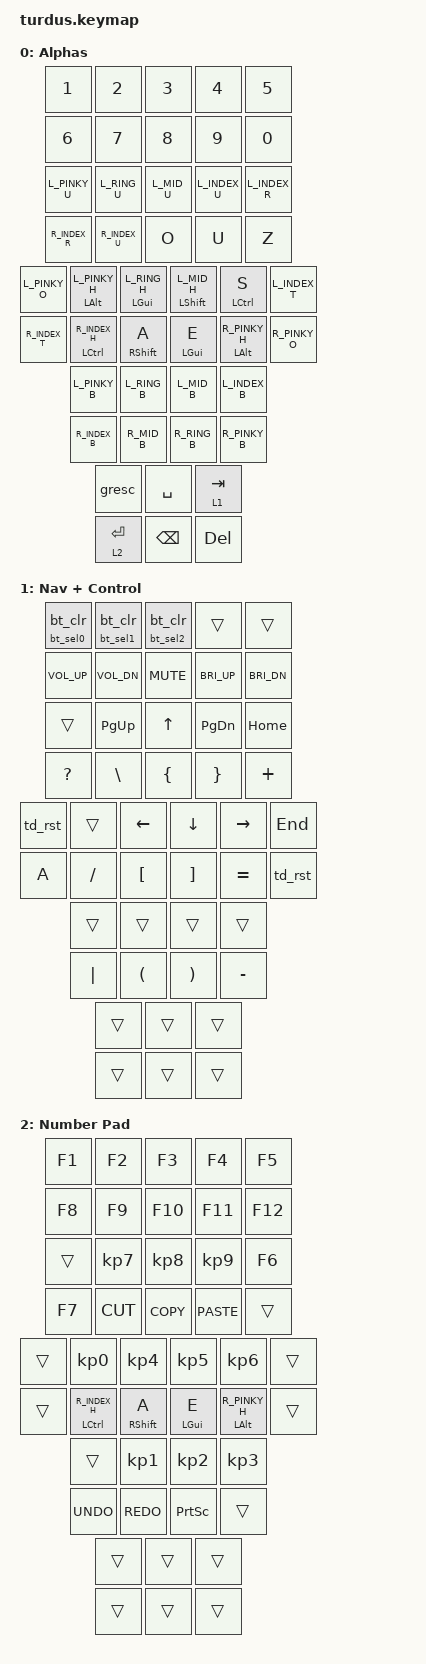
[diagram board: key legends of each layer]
#include <behaviors.dtsi>
#include <dt-bindings/zmk/keys.h>
#include <dt-bindings/zmk/bt.h>
#include "alphas/gallium.h"

#define KEYS_L 0 1 2 3 4 10 11 12 13 14 20 21 22 23 24 25 32 33 34 35 
#define KEYS_R 5 6 7 8 9 15 16 17 18 19 26 27 28 29 30 31 36 37 38 39
#define THUMBS 40 41 42 43 44 45                                    // thumb keys

#define OS_UNICODE_LEAD &macro_tap &kp LS(LC(U))   // Linux
#define OS_UNICODE_TRAIL &macro_tap &kp SPACE     // Linux

#define UC_MACRO(name, unicode_bindings) \
    / { \
        macros { \
            name: name { \
                compatible = "zmk,behavior-macro"; \
                wait-ms = <0>; \
                tap-ms = <0>; \
                #binding-cells = <0>; \
                bindings = <OS_UNICODE_LEAD>, <&macro_tap unicode_bindings>, <OS_UNICODE_TRAIL>; \
            }; \
        }; \
    };

#define UC_MODMORPH(name, uc_binding, shifted_uc_binding) \
    / { \
        behaviors { \
            name: name { \
                compatible = "zmk,behavior-mod-morph"; \
                #binding-cells = <0>; \
                bindings = <uc_binding>, <shifted_uc_binding>; \
                mods = <(MOD_LSFT|MOD_RSFT)>; \
            }; \
        }; \
    };

#define ZMK_UNICODE_PAIR(name, L0, L1, L2, L3, U0, U1, U2, U3) \
    UC_MACRO(name ## _l, &kp L0 &kp L1 &kp L2 &kp L3) \
    UC_MACRO(name ## _u, &kp U0 &kp U1 &kp U2 &kp U3) \
    UC_MODMORPH(name, &name ## _l, &name ## _u)


ZMK_UNICODE_PAIR(   de_ae,      N0, N0,  E, N4,    N0, N0,  C, N4) // ä/Ä
ZMK_UNICODE_PAIR(   de_oe,      N0, N0,  F, N6,    N0, N0,  D, N6) // ö/Ö
ZMK_UNICODE_PAIR(   de_ue,      N0, N0,  F,  C,    N0, N0,  D,  C) // ü/Ü
ZMK_UNICODE_PAIR(de_eszett,     N0, N0,  D,  F,    N1, E,   N9, E) // ß/ẞ

#define R_RING_U U
#define R_RING_H E

#define R_MID_U O
#define R_MID_H A

#define L_INDEX_H S
#define R_PINKY_U Z


/ {
    behaviors {

        td_rst: reset_tap_dance {
            compatible = "zmk,behavior-tap-dance";
            #binding-cells = <0>;
            tapping-term-ms = <200>;
            bindings = <&studio_unlock>, <&sys_reset>, <&bootloader>;
        };

        hml: hold_tap_left {
            compatible = "zmk,behavior-hold-tap";
            #binding-cells = <2>;
            flavor = "balanced";
            tapping-term-ms = <280>;
            quick-tap-ms = <175>;                // repeat on tap-into-hold
            require-prior-idle-ms = <150>;
            bindings = <&kp>, <&kp>;
            hold-trigger-key-positions = <KEYS_R THUMBS>;
            hold-trigger-on-release;             // delay positional check until key-release
        };

        hmr: hold_tap_right {
            compatible = "zmk,behavior-hold-tap";
            #binding-cells = <2>;
            flavor = "balanced";
            tapping-term-ms = <280>;
            quick-tap-ms = <175>;                // repeat on tap-into-hold
            require-prior-idle-ms = <150>;
            bindings = <&kp>, <&kp>;
            hold-trigger-key-positions = <KEYS_L THUMBS>;
            hold-trigger-on-release;             // delay positional check until key-release
        };

        bt_ht0: bluetooth_hold_tap0 {
            compatible = "zmk,behavior-hold-tap";
            #binding-cells = <2>;
            flavor = "tap-preferred";
            tapping-term-ms = <1000>;
            bindings = <&bt_sel0>, <&bt_clr>;
        };
        bt_ht1: bluetooth_hold_tap1 {
            compatible = "zmk,behavior-hold-tap";
            #binding-cells = <2>;
            flavor = "tap-preferred";
            tapping-term-ms = <1000>;
            bindings = <&bt_sel1>, <&bt_clr>;
        };
        bt_ht2: bluetooth_hold_tap2 {
            compatible = "zmk,behavior-hold-tap";
            #binding-cells = <2>;
            flavor = "tap-preferred";
            tapping-term-ms = <1000>;
            bindings = <&bt_sel2>, <&bt_clr>;
        };
    };

    macros {
        bt_clr: bluetooth_clear {
            compatible = "zmk,behavior-macro";
            #binding-cells = <0>;
            bindings=<&macro_tap &bt BT_CLR>;
        };
        bt_sel0: bluetooth_select0 {
            compatible = "zmk,behavior-macro";
            #binding-cells = <0>;
            bindings=<&macro_tap &bt BT_SEL 0>;
        };
        bt_sel1: bluetooth_select1 {
            compatible = "zmk,behavior-macro";
            #binding-cells = <0>;
            bindings=<&macro_tap &bt BT_SEL 1>;
        };
        bt_sel2: bluetooth_select2 {
            compatible = "zmk,behavior-macro";
            #binding-cells = <0>;
            bindings=<&macro_tap &bt BT_SEL 2>;
        };
    };

    combos {
        compatible = "zmk,combos";
        combo_soft_off {
            timeout-ms = <50>;
            key-positions = <4 5>;
            bindings = <&soft_off>;
        };
        combo_sleep {
            timeout-ms = <50>;
            key-positions = <8 9>;
            bindings = <&kp C_SLEEP>;
        };
        combo_oe {
            timeout-ms = <50>;
            key-positions = <17 29>;
            bindings = <&de_oe>;
            layers = <0>;
        };
        combo_ae {
            timeout-ms = <50>;
            key-positions = <28 29>;
            bindings = <&de_ae>;
            layers = <0>;
        };
        combo_ue {
            timeout-ms = <50>;
            key-positions = <18 29>;
            bindings = <&de_ue>;
            layers = <0>;
        };
        combo_sz {
            timeout-ms = <50>;
            key-positions = <10 24>;
            bindings = <&de_eszett>;
            layers = <0>;
        };
    };

    /*
    Stuff:
    Gaming layers
    */
    
    keymap {
        compatible = "zmk,keymap";

        default_layer { // Layer 0
            display-name = "Alphas";
            bindings = <
                // Left num row
                &kp N1 &kp N2 &kp N3 &kp N4 &kp N5 
                // Right num row
                &kp N6 &kp N7 &kp N8 &kp N9 &kp N0
                // Left upper row
                &kp L_PINKY_U &kp L_RING_U &kp L_MID_U &kp L_INDEX_U &kp L_INDEX_R  
                // Right upper row
                &kp R_INDEX_R &kp R_INDEX_U &kp R_MID_U &kp R_RING_U &kp R_PINKY_U 
                // Left home row
                &kp L_PINKY_O &hml LALT L_PINKY_H   &hml LGUI L_RING_H   &hml LSHFT L_MID_H  &hml LCTRL L_INDEX_H  &kp L_INDEX_T 
                // Right home row
                &kp R_INDEX_T  &hmr LCTRL R_INDEX_H  &hmr RSHFT R_MID_H  &hmr LGUI R_RING_H   &hmr LALT R_PINKY_H &kp R_PINKY_O 
                // Left lower row
                &kp L_PINKY_B &kp L_RING_B &kp L_MID_B &kp L_INDEX_B
                // Right lower row
                &kp R_INDEX_B &kp R_MID_B &kp R_RING_B &kp R_PINKY_B 
                // Left thumbs
                &gresc &kp SPACE &lt 1 TAB
                // Right thumbs
                &lt 2 ENTER &kp BSPC &kp DEL
            >;
        };

        nav_sym {
            display-name = "Nav + Control";
            bindings = <
            &bt_ht0 0 0 &bt_ht1 0 0 &bt_ht2 0 0 &trans &trans               &kp C_VOL_UP &kp C_VOL_DN &kp C_MUTE &kp C_BRI_UP &kp C_BRI_DN
                  &trans &kp PG_UP &kp UP &kp PG_DN &kp HOME           &kp QUESTION  &kp BSLH &kp LBRC &kp RBRC  &kp PLUS 
            &td_rst &trans &kp LEFT &kp DOWN &kp RIGHT &kp END       &kp A &kp SLASH  &kp LBKT &kp RBKT   &kp EQUAL &td_rst
                &trans &trans &trans &trans                             &kp PIPE  &kp LPAR &kp RPAR &kp MINUS  
                                    &trans &trans &trans    &trans &trans &trans 
            >;
        };

        //on-off
        numpad {
            display-name = "Number Pad";
            bindings = <
                    &kp F1 &kp F2 &kp F3 &kp F4 &kp F5                      &kp F8 &kp F9 &kp F10 &kp F11 &kp F12
                    &trans &kp KP_N7 &kp KP_N8 &kp KP_N9 &kp F6            &kp F7 &kp K_CUT &kp K_COPY &kp K_PASTE &trans 
           &trans &kp KP_N0 &kp KP_N4 &kp KP_N5 &kp KP_N6 &trans           &trans  &hmr LCTRL R_INDEX_H  &hmr RSHFT R_MID_H  &hmr LGUI R_RING_H   &hmr LALT R_PINKY_H &trans
                &trans &kp KP_N1 &kp KP_N2 &kp KP_N3                             &kp K_UNDO &kp K_REDO &kp PSCRN &trans 
                                    &trans &trans &trans    &trans &trans &trans 
            >;
        };
    };
 };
